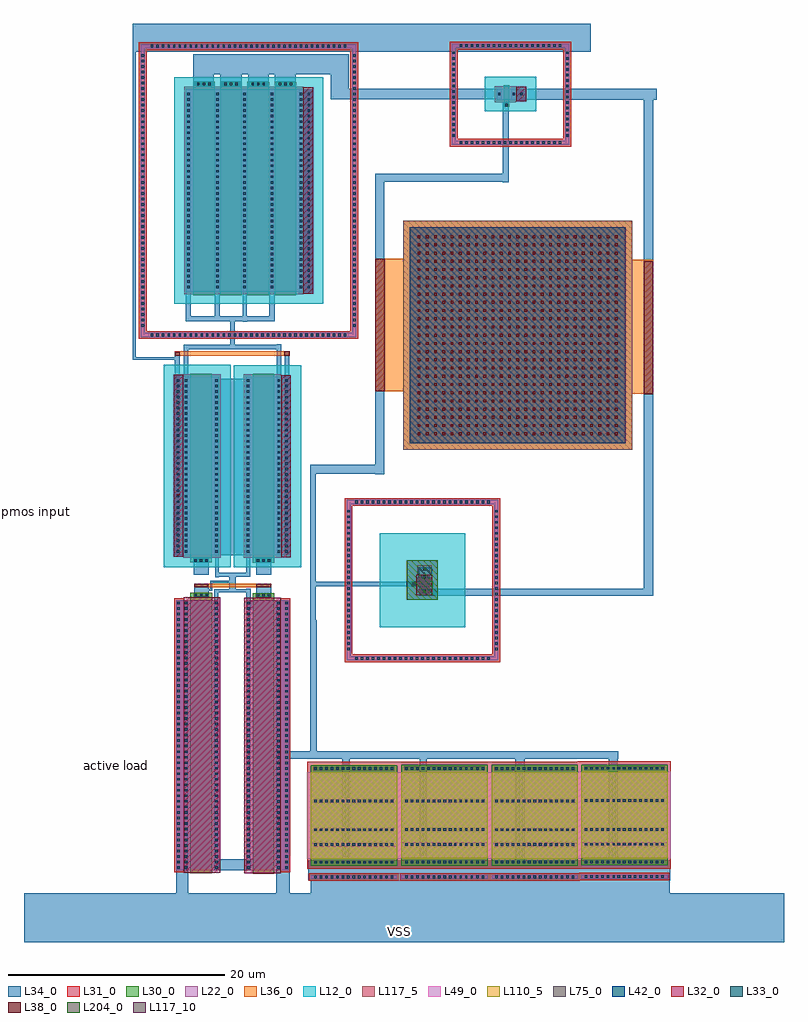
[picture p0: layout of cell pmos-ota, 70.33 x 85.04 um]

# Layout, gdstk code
from math import pi, radians
import gdstk
lib = gdstk.Library(unit=1e-6, precision=1e-09)
def R(c, l, rs):  # rectangles x0, y0, x1, y1
    for r in rs: c.add(gdstk.rectangle(r[:2], r[2:], *l))
def A(c, l, x, y, w, h, nx, ny, dx, dy):  # array of equal rectangles
    R(c, l, [(x+i*dx, y+j*dy, x+i*dx+w, y+j*dy+h) for i in range(nx) for j in range(ny)])
def P(c, l, *ps):  # polygons
    for p in ps: c.add(gdstk.Polygon(p, *l))
L12_0 = (12, 0)
L22_0 = (22, 0)
L30_0 = (30, 0)
L31_0 = (31, 0)
L32_0 = (32, 0)
L33_0 = (33, 0)
L34_0 = (34, 0)
L36_0 = (36, 0)
L38_0 = (38, 0)
L42_0 = (42, 0)
L49_0 = (49, 0)
L75_0 = (75, 0)
L110_5 = (110, 5)
L117_5 = (117, 5)
L117_10 = (117, 10)
L204_0 = (204, 0)

pfet_5 = lib.new_cell('pfet$5')
R(pfet_5, L12_0, [(-1.56,-1.1,4.67,17.6)])
R(pfet_5, L22_0, [(-0.46,0,0,16.5), (0,0,2.38,16.5), (2.38,0,2.84,16.5), (2.84,0,3.57,16.5)])
R(pfet_5, L30_0, [(0.19,-0.68,2.19,-0.3), (0.19,-0.3,2.19,16.8)])
R(pfet_5, L31_0, [(-0.63,-0.24,2.84,16.74)])
R(pfet_5, L32_0, [(2.84,-0.17,3.74,16.67)])
A(pfet_5, L33_0, 0.57, -0.6, 0.22, 0.22, 3, 1, 0.51, 0)
A(pfet_5, L33_0, -0.34, 0.235, 0.22, 0.22, 1, 32, 0, 0.51)
A(pfet_5, L33_0, 2.5, 0.235, 0.22, 0.22, 1, 32, 0, 0.51)
A(pfet_5, L33_0, 3.23, 0.235, 0.22, 0.22, 1, 32, 0, 0.51)
R(pfet_5, L34_0, [(0.49,-0.68,1.89,-0.3), (-0.42,0.155,-0.04,16.345), (2.42,0.155,2.8,16.345), (3.15,0.155,3.53,16.345)])

ppolyf_u_resistor = lib.new_cell('ppolyf_u_resistor')
R(ppolyf_u_resistor, L22_0, [(-1.88,0,-1.52,5), (1.12,0,1.48,5), (-1.88,3,-1.52,8), (1.12,3,1.48,8)])
R(ppolyf_u_resistor, L30_0, [(-0.66,0,5.66,5), (2.34,0,8.66,5), (-0.66,3,5.66,8), (2.34,3,8.66,8)])
R(ppolyf_u_resistor, L31_0, [(-0.96,-0.3,5.96,5.3), (2.04,-0.3,8.96,5.3), (-2.04,-0.16,-1.36,5.16), (0.96,-0.16,1.64,5.16), (-0.96,2.7,5.96,8.3), (2.04,2.7,8.96,8.3), (-2.04,2.84,-1.36,8.16), (0.96,2.84,1.64,8.16)])
A(ppolyf_u_resistor, L33_0, -1.81, 0.35, 0.22, 0.22, 1, 6, 0, 0.51)
A(ppolyf_u_resistor, L33_0, -0.44, 0.35, 0.22, 0.22, 1, 6, 0, 0.51)
A(ppolyf_u_resistor, L33_0, 1.19, 0.35, 0.22, 0.22, 1, 6, 0, 0.51)
A(ppolyf_u_resistor, L33_0, 2.56, 0.35, 0.22, 0.22, 1, 6, 0, 0.51)
A(ppolyf_u_resistor, L33_0, 5.22, 0.35, 0.22, 0.22, 1, 6, 0, 0.51)
A(ppolyf_u_resistor, L33_0, 8.22, 0.35, 0.22, 0.22, 1, 6, 0, 0.51)
A(ppolyf_u_resistor, L33_0, -1.81, 4.88, 0.22, 0.22, 1, 6, 0, 0.51)
A(ppolyf_u_resistor, L33_0, -0.44, 4.88, 0.22, 0.22, 1, 6, 0, 0.51)
A(ppolyf_u_resistor, L33_0, 1.19, 4.88, 0.22, 0.22, 1, 6, 0, 0.51)
A(ppolyf_u_resistor, L33_0, 2.56, 4.88, 0.22, 0.22, 1, 6, 0, 0.51)
A(ppolyf_u_resistor, L33_0, 5.22, 4.88, 0.22, 0.22, 1, 6, 0, 0.51)
A(ppolyf_u_resistor, L33_0, 8.22, 4.88, 0.22, 0.22, 1, 6, 0, 0.51)
R(ppolyf_u_resistor, L33_0, [(-1.81,3.35,-1.59,3.57), (-0.44,3.35,-0.22,3.57), (1.19,3.35,1.41,3.57), (2.56,3.35,2.78,3.57), (5.22,3.35,5.44,3.57), (8.22,3.35,8.44,3.57), (-1.81,3.41,-1.59,3.63), (-0.44,3.41,-0.22,3.63), (1.19,3.41,1.41,3.63), (2.56,3.41,2.78,3.63), (5.22,3.41,5.44,3.63), (8.22,3.41,8.44,3.63), (-1.81,3.86,-1.59,4.08), (-0.44,3.86,-0.22,4.08), (1.19,3.86,1.41,4.08), (2.56,3.86,2.78,4.08), (5.22,3.86,5.44,4.08), (8.22,3.86,8.44,4.08), (-1.81,3.92,-1.59,4.14), (-0.44,3.92,-0.22,4.14), (1.19,3.92,1.41,4.14), (2.56,3.92,2.78,4.14), (5.22,3.92,5.44,4.14), (8.22,3.92,8.44,4.14), (-1.81,4.37,-1.59,4.59), (-0.44,4.37,-0.22,4.59), (1.19,4.37,1.41,4.59), (2.56,4.37,2.78,4.59), (5.22,4.37,5.44,4.59), (8.22,4.37,8.44,4.59), (-1.81,4.43,-1.59,4.65), (-0.44,4.43,-0.22,4.65), (1.19,4.43,1.41,4.65), (2.56,4.43,2.78,4.65), (5.22,4.43,5.44,4.65), (8.22,4.43,8.44,4.65)])
R(ppolyf_u_resistor, L34_0, [(-1.89,0.27,-1.51,4.73), (-0.52,0.27,-0.14,4.73), (1.11,0.27,1.49,4.73), (2.48,0.27,2.86,4.73), (5.14,0.27,5.52,4.73), (8.14,0.27,8.52,4.73), (-1.89,3.27,-1.51,7.73), (-0.52,3.27,-0.14,7.73), (1.11,3.27,1.49,7.73), (2.48,3.27,2.86,7.73), (5.14,3.27,5.52,7.73), (8.14,3.27,8.52,7.73)])
R(ppolyf_u_resistor, L49_0, [(0,-0.28,5,5.28), (3,-0.28,8,5.28), (0,2.72,5,8.28), (3,2.72,8,8.28)])
R(ppolyf_u_resistor, L110_5, [(0,0,5,5), (3,0,8,5), (0,3,5,8), (3,3,8,8)])
ppolyf_u_resistor.add(gdstk.Label('poo poo', (-1.7,2.5), layer=34, texttype=10))
ppolyf_u_resistor.add(gdstk.Label('poo poo', (1.3,2.5), layer=34, texttype=10))
ppolyf_u_resistor.add(gdstk.Label('poo poo', (-1.7,5.5), layer=34, texttype=10))
ppolyf_u_resistor.add(gdstk.Label('poo poo', (1.3,5.5), layer=34, texttype=10))

ppolyf_u_resistor_2 = lib.new_cell('ppolyf_u_resistor$2')
R(ppolyf_u_resistor_2, L22_0, [(-1.88,0,-1.52,5), (1.12,0,1.48,5), (-1.88,3,-1.52,8), (1.12,3,1.48,8)])
R(ppolyf_u_resistor_2, L30_0, [(-0.66,0,5.66,5), (2.34,0,8.66,5), (-0.66,3,5.66,8), (2.34,3,8.66,8)])
R(ppolyf_u_resistor_2, L31_0, [(-0.96,-0.3,5.96,5.3), (2.04,-0.3,8.96,5.3), (-2.04,-0.16,-1.36,5.16), (0.96,-0.16,1.64,5.16), (-0.96,2.7,5.96,8.3), (2.04,2.7,8.96,8.3), (-2.04,2.84,-1.36,8.16), (0.96,2.84,1.64,8.16)])
A(ppolyf_u_resistor_2, L33_0, -1.81, 0.35, 0.22, 0.22, 1, 6, 0, 0.51)
A(ppolyf_u_resistor_2, L33_0, -0.44, 0.35, 0.22, 0.22, 1, 6, 0, 0.51)
A(ppolyf_u_resistor_2, L33_0, 1.19, 0.35, 0.22, 0.22, 1, 6, 0, 0.51)
A(ppolyf_u_resistor_2, L33_0, 2.56, 0.35, 0.22, 0.22, 1, 6, 0, 0.51)
A(ppolyf_u_resistor_2, L33_0, 5.22, 0.35, 0.22, 0.22, 1, 6, 0, 0.51)
A(ppolyf_u_resistor_2, L33_0, 8.22, 0.35, 0.22, 0.22, 1, 6, 0, 0.51)
A(ppolyf_u_resistor_2, L33_0, -1.81, 4.88, 0.22, 0.22, 1, 6, 0, 0.51)
A(ppolyf_u_resistor_2, L33_0, -0.44, 4.88, 0.22, 0.22, 1, 6, 0, 0.51)
A(ppolyf_u_resistor_2, L33_0, 1.19, 4.88, 0.22, 0.22, 1, 6, 0, 0.51)
A(ppolyf_u_resistor_2, L33_0, 2.56, 4.88, 0.22, 0.22, 1, 6, 0, 0.51)
A(ppolyf_u_resistor_2, L33_0, 5.22, 4.88, 0.22, 0.22, 1, 6, 0, 0.51)
A(ppolyf_u_resistor_2, L33_0, 8.22, 4.88, 0.22, 0.22, 1, 6, 0, 0.51)
R(ppolyf_u_resistor_2, L33_0, [(-1.81,3.35,-1.59,3.57), (-0.44,3.35,-0.22,3.57), (1.19,3.35,1.41,3.57), (2.56,3.35,2.78,3.57), (5.22,3.35,5.44,3.57), (8.22,3.35,8.44,3.57), (-1.81,3.41,-1.59,3.63), (-0.44,3.41,-0.22,3.63), (1.19,3.41,1.41,3.63), (2.56,3.41,2.78,3.63), (5.22,3.41,5.44,3.63), (8.22,3.41,8.44,3.63), (-1.81,3.86,-1.59,4.08), (-0.44,3.86,-0.22,4.08), (1.19,3.86,1.41,4.08), (2.56,3.86,2.78,4.08), (5.22,3.86,5.44,4.08), (8.22,3.86,8.44,4.08), (-1.81,3.92,-1.59,4.14), (-0.44,3.92,-0.22,4.14), (1.19,3.92,1.41,4.14), (2.56,3.92,2.78,4.14), (5.22,3.92,5.44,4.14), (8.22,3.92,8.44,4.14), (-1.81,4.37,-1.59,4.59), (-0.44,4.37,-0.22,4.59), (1.19,4.37,1.41,4.59), (2.56,4.37,2.78,4.59), (5.22,4.37,5.44,4.59), (8.22,4.37,8.44,4.59), (-1.81,4.43,-1.59,4.65), (-0.44,4.43,-0.22,4.65), (1.19,4.43,1.41,4.65), (2.56,4.43,2.78,4.65), (5.22,4.43,5.44,4.65), (8.22,4.43,8.44,4.65)])
R(ppolyf_u_resistor_2, L34_0, [(-1.89,0.27,-1.51,4.73), (-0.52,0.27,-0.14,4.73), (1.11,0.27,1.49,4.73), (2.48,0.27,2.86,4.73), (5.14,0.27,5.52,4.73), (8.14,0.27,8.52,4.73), (-1.89,3.27,-1.51,7.73), (-0.52,3.27,-0.14,7.73), (1.11,3.27,1.49,7.73), (2.48,3.27,2.86,7.73), (5.14,3.27,5.52,7.73), (8.14,3.27,8.52,7.73)])
R(ppolyf_u_resistor_2, L49_0, [(0,-0.28,5,5.28), (3,-0.28,8,5.28), (0,2.72,5,8.28), (3,2.72,8,8.28)])
R(ppolyf_u_resistor_2, L110_5, [(0,0,5,5), (3,0,8,5), (0,3,5,8), (3,3,8,8)])

pfet = lib.new_cell('pfet')
R(pfet, L12_0, [(-1.56,-1.1,3.17,2.1)])
R(pfet, L22_0, [(-0.46,0,0,1), (0,0,0.88,1), (0.88,0,1.34,1), (1.34,0,2.07,1)])
P(pfet, L22_0, [(-4.64,-4.18),(-4.64,4.8),(-4.26,4.8),(-4.26,-3.8),(5.87,-3.8),(5.87,4.8),(-4.64,4.8),(-4.64,5.18),(6.25,5.18),(6.25,-4.18)])
R(pfet, L30_0, [(0.19,-0.68,0.69,-0.3), (0.19,-0.3,0.69,1.3)])
R(pfet, L31_0, [(-0.63,-0.24,1.34,1.24)])
P(pfet, L31_0, [(-4.81,-4.35),(-4.81,4.63),(-4.09,4.63),(-4.09,-3.63),(5.7,-3.63),(5.7,4.63),(-4.81,4.63),(-4.81,5.35),(6.42,5.35),(6.42,-4.35)])
R(pfet, L32_0, [(1.34,-0.17,2.24,1.17)])
A(pfet, L33_0, -3.895, -4.1, 0.22, 0.22, 19, 2, 0.51, 8.98)
A(pfet, L33_0, -4.56, -3.435, 0.22, 0.22, 1, 16, 0, 0.51)
A(pfet, L33_0, 5.95, -3.435, 0.22, 0.22, 1, 16, 0, 0.51)
R(pfet, L33_0, [(0.33,-0.6,0.55,-0.38), (-0.34,0.39,-0.12,0.61), (1,0.39,1.22,0.61), (1.73,0.39,1.95,0.61)])
R(pfet, L34_0, [(0.25,-0.681,0.63,-0.299), (-0.42,0.309,-0.04,0.691), (0.92,0.309,1.3,0.691), (1.65,0.309,2.03,0.691)])

nfet = lib.new_cell('nfet')
R(nfet, L12_0, [(-3.55,-3.26,5.14,4.632)])
R(nfet, L22_0, [(-0.42,0,0,1), (0,0,0.88,1), (0.88,0,1.3,1), (1.3,0,2.01,1)])
P(nfet, L22_0, [(-6.63,-6.34),(-6.63,7.332),(-6.25,7.332),(-6.25,-5.96),(7.84,-5.96),(7.84,7.332),(-6.63,7.332),(-6.63,7.712),(8.22,7.712),(8.22,-6.34)])
R(nfet, L30_0, [(0.19,-0.3,0.69,1.3), (0.19,1.3,0.69,1.66)])
R(nfet, L31_0, [(1.3,-0.17,2.18,1.17)])
P(nfet, L31_0, [(-6.8,-6.51),(-6.8,7.162),(-6.08,7.162),(-6.08,-5.79),(7.67,-5.79),(7.67,7.162),(-6.8,7.162),(-6.8,7.882),(8.39,7.882),(8.39,-6.51)])
R(nfet, L32_0, [(-0.59,-0.24,1.3,1.24)])
A(nfet, L33_0, -5.69, -6.26, 0.22, 0.22, 26, 2, 0.51, 13.672)
A(nfet, L33_0, -6.55, -5.544, 0.22, 0.22, 1, 25, 0, 0.51)
A(nfet, L33_0, 7.92, -5.544, 0.22, 0.22, 1, 25, 0, 0.51)
R(nfet, L33_0, [(-0.32,0.39,-0.1,0.61), (0.98,0.39,1.2,0.61), (1.69,0.39,1.91,0.61), (0.33,1.37,0.55,1.59)])
R(nfet, L34_0, [(-0.4,0.309,-0.02,0.691), (0.9,0.309,1.28,0.691), (1.61,0.309,1.99,0.691), (0.25,1.289,0.63,1.671)])
R(nfet, L204_0, [(-1.04,-0.75,2.63,2.122)])

cap_mim_1 = lib.new_cell('cap_mim$1')
R(cap_mim_1, L36_0, [(-0.6,-0.6,20.6,20.6)])
A(cap_mim_1, L38_0, 0.75, 0.75, 0.26, 0.26, 25, 25, 0.76, 0.76)
R(cap_mim_1, L42_0, [(0,0,20,20)])
R(cap_mim_1, L75_0, [(0,0,20,20)])
R(cap_mim_1, L117_5, [(-0.6,-0.6,20.6,20.6)])
R(cap_mim_1, L117_10, [(0,0,20,0.1)])

pfet_7 = lib.new_cell('pfet$7')
R(pfet_7, L12_0, [(-1.56,-1.1,12.23,19.85)])
R(pfet_7, L22_0, [(-0.46,0,0,18.75), (0,0,9.94,18.75), (9.94,0,10.4,18.75), (10.4,0,11.13,18.75)])
P(pfet_7, L22_0, [(-4.64,-4.18),(-4.64,22.55),(-4.26,22.55),(-4.26,-3.8),(14.93,-3.8),(14.93,22.55),(-4.64,22.55),(-4.64,22.93),(15.31,22.93),(15.31,-4.18)])
A(pfet_7, L30_0, 0.19, -0.68, 2, 0.38, 4, 1, 2.52, 0)
A(pfet_7, L30_0, 0.19, -0.3, 2, 19.35, 4, 1, 2.52, 0)
R(pfet_7, L31_0, [(-0.63,-0.24,10.4,18.99)])
P(pfet_7, L31_0, [(-4.81,-4.35),(-4.81,22.38),(-4.09,22.38),(-4.09,-3.63),(14.76,-3.63),(14.76,22.38),(-4.81,22.38),(-4.81,23.1),(15.48,23.1),(15.48,-4.35)])
R(pfet_7, L32_0, [(10.4,-0.17,11.3,18.92)])
A(pfet_7, L33_0, -3.7, -4.1, 0.22, 0.22, 36, 2, 0.51, 26.73)
A(pfet_7, L33_0, -4.56, -3.23, 0.22, 0.22, 1, 50, 0, 0.51)
A(pfet_7, L33_0, 15.01, -3.23, 0.22, 0.22, 1, 50, 0, 0.51)
A(pfet_7, L33_0, 0.57, -0.6, 0.22, 0.22, 3, 1, 0.51, 0)
A(pfet_7, L33_0, 3.09, -0.6, 0.22, 0.22, 3, 1, 0.51, 0)
A(pfet_7, L33_0, 5.61, -0.6, 0.22, 0.22, 3, 1, 0.51, 0)
A(pfet_7, L33_0, 8.13, -0.6, 0.22, 0.22, 3, 1, 0.51, 0)
A(pfet_7, L33_0, -0.34, 0.34, 0.22, 0.22, 1, 36, 0, 0.51)
A(pfet_7, L33_0, 2.34, 0.34, 0.22, 0.22, 3, 36, 2.52, 0.51)
A(pfet_7, L33_0, 10.06, 0.34, 0.22, 0.22, 1, 36, 0, 0.51)
A(pfet_7, L33_0, 10.79, 0.34, 0.22, 0.22, 1, 36, 0, 0.51)
A(pfet_7, L34_0, 0.49, -0.68, 1.4, 0.38, 4, 1, 2.52, 0)
A(pfet_7, L34_0, 2.26, 0.26, 0.38, 18.23, 3, 1, 2.52, 0)
R(pfet_7, L34_0, [(-0.42,0.26,-0.04,18.49), (9.98,0.26,10.36,18.49), (10.71,0.26,11.09,18.49)])

pfet_1 = lib.new_cell('pfet$1')
R(pfet_1, L12_0, [(-1.56,-1.1,4.67,17.6)])
R(pfet_1, L22_0, [(-0.46,0,0,16.5), (0,0,2.38,16.5), (2.38,0,2.84,16.5), (2.84,0,3.57,16.5)])
R(pfet_1, L30_0, [(0.19,-0.3,2.19,16.8), (0.19,16.8,2.19,17.18)])
R(pfet_1, L31_0, [(-0.63,-0.24,2.84,16.74)])
R(pfet_1, L32_0, [(2.84,-0.17,3.74,16.67)])
A(pfet_1, L33_0, -0.34, 0.235, 0.22, 0.22, 1, 32, 0, 0.51)
A(pfet_1, L33_0, 2.5, 0.235, 0.22, 0.22, 1, 32, 0, 0.51)
A(pfet_1, L33_0, 3.23, 0.235, 0.22, 0.22, 1, 32, 0, 0.51)
A(pfet_1, L33_0, 0.57, 16.88, 0.22, 0.22, 3, 1, 0.51, 0)
R(pfet_1, L34_0, [(-0.42,0.155,-0.04,16.345), (2.42,0.155,2.8,16.345), (3.15,0.155,3.53,16.345), (0.49,16.8,1.89,17.18)])

nfet_1 = lib.new_cell('nfet$1')
R(nfet_1, L22_0, [(-0.42,0,0,25), (0,0,2.38,25), (2.38,0,2.8,25), (2.8,0,3.51,25)])
R(nfet_1, L30_0, [(0.19,-0.66,2.19,-0.3), (0.19,-0.3,2.19,25.3)])
R(nfet_1, L31_0, [(2.8,-0.17,3.68,25.17)])
R(nfet_1, L32_0, [(-0.59,-0.24,2.8,25.24)])
A(nfet_1, L33_0, 0.57, -0.59, 0.22, 0.22, 3, 1, 0.51, 0)
A(nfet_1, L33_0, -0.32, 0.15, 0.22, 0.22, 1, 49, 0, 0.51)
A(nfet_1, L33_0, 2.48, 0.15, 0.22, 0.22, 1, 49, 0, 0.51)
A(nfet_1, L33_0, 3.19, 0.15, 0.22, 0.22, 1, 49, 0, 0.51)
R(nfet_1, L34_0, [(0.49,-0.67,1.89,-0.29), (-0.4,0.07,-0.02,24.93), (2.4,0.07,2.78,24.93), (3.11,0.07,3.49,24.93)])

nfet_6 = lib.new_cell('nfet$6')
R(nfet_6, L22_0, [(-0.42,0,0,25), (0,0,2.38,25), (2.38,0,2.8,25), (2.8,0,3.51,25)])
R(nfet_6, L30_0, [(0.19,-0.3,2.19,25.3), (0.19,25.3,2.19,25.66)])
R(nfet_6, L31_0, [(2.8,-0.17,3.68,25.17)])
R(nfet_6, L32_0, [(-0.59,-0.24,2.8,25.24)])
A(nfet_6, L33_0, -0.32, 0.15, 0.22, 0.22, 1, 49, 0, 0.51)
A(nfet_6, L33_0, 2.48, 0.15, 0.22, 0.22, 1, 49, 0, 0.51)
A(nfet_6, L33_0, 3.19, 0.15, 0.22, 0.22, 1, 49, 0, 0.51)
A(nfet_6, L33_0, 0.57, 25.37, 0.22, 0.22, 3, 1, 0.51, 0)
R(nfet_6, L34_0, [(-0.4,0.07,-0.02,24.93), (2.4,0.07,2.78,24.93), (3.11,0.07,3.49,24.93), (0.49,25.29,1.89,25.67)])

pmos_ota = lib.new_cell('pmos-ota')
R(pmos_ota, L34_0, [(-24.975,-22.35,45.355,-17.775), (-10.895,-18.92,-9.775,-14.03), (-1.62,-18.83,-0.405,-14.305), (1.575,-18.375,34.785,-16.11), (1.325,-16.59,34.825,-14.735), (-10.895,-15.665,-9.78,9.335), (-7.385,-15.655,-4,-14.665), (-1.62,-15.645,-0.49,9.315), (20.485,-15.1,21.385,-4.66), (29.115,-14.555,29.97,-4.66), (4.465,-14.41,5.16,-4.665), (11.64,-14.34,12.275,-4.66), (-1.52,-5.34,5.135,-4.635), (4.465,-5.34,30.035,-4.66), (1.535,-5.2,2.095,7.45), (1.535,7.015,2.01,21.85), (-4.41,8.49,-4,10.385), (-7.365,8.875,-7,10.36), (-3.49,9.615,-2.08,10.86), (-9.22,9.635,-7.87,10.86), (11.61,9.735,33.17,10.385), (32.385,9.735,33.235,56.655), (-7.365,10.05,-4,10.35), (-5.965,10.05,-5.38,11.85), (-8.05,10.185,-7.545,10.36), (-7.735,10.185,-7.545,11.145), (1.535,10.595,11.345,11.05), (-7.735,10.92,-5.38,11.12), (11.51,11.345,12.81,12.315), (-7.27,11.435,-6.96,13.92), (-7.27,11.48,-4.02,11.85), (-4.43,11.48,-4.02,13.95), (-3.475,11.665,-2.11,13.185), (-9.255,11.675,-7.88,13.195), (-7.35,13.485,-4.015,29.825), (7.53,20.975,8.365,37.395), (1.535,21.02,8.365,21.85), (-10.19,27.93,-9.76,32.97), (-0.86,28.505,-0.41,32.345), (-1.59,28.535,-1.185,32.495), (-11.015,28.68,-10.54,32.32), (-14.895,31.585,-10.54,31.815), (-14.895,31.59,-14.635,60.425), (-1.59,32.03,-1.18,33.015), (-10.19,32.56,-1.18,32.97), (-5.88,32.56,-5.465,35.58), (-4.745,35.105,-4.36,38.975), (-9.985,35.12,-9.525,39.015), (-9.985,35.12,-1.79,35.58), (-7.335,35.12,-6.85,39.085), (-2.295,35.12,-1.785,38.88), (7.53,36.895,8.36,48.78), (0.47,37.685,1.685,56.605), (19.315,48.01,19.905,55.415), (7.57,48.055,19.905,48.78), (20.11,55.615,33.585,56.655), (20.12,55.655,21.3,56.655), (3.4,55.675,19.23,56.655), (3.415,55.675,5.055,59.855), (-1.775,56.865,0.18,59.855), (-4.245,56.905,-2.32,59.855), (-6.815,56.93,-4.825,59.855), (-9.335,56.955,-7.405,59.86), (-9.335,58,5.06,59.855), (-14.895,60.07,27.48,62.69)])
P(pmos_ota, L34_0, [(24.375,35.495),(24.375,35.495),(24.375,35.495),(24.375,35.495)])
R(pmos_ota, L36_0, [(-9.22,10.5,-2.08,10.825), (28.435,28.43,33.235,40.815), (7.53,28.655,16.13,40.93), (-11.015,31.955,-0.39,32.345)])
R(pmos_ota, L38_0, [(-9.22,10.5,-7.92,10.825), (-3.495,10.5,-2.08,10.825), (-10.84,19.05,-10.54,19.12), (32.385,28.38,33.235,40.68), (7.53,28.655,8.42,40.915), (-11.015,31.925,-10.54,32.305), (-0.89,31.955,-0.39,32.345)])
pmos_ota.add(gdstk.Reference(pfet_5, (-4.01,13.485)))
r = gdstk.Reference(ppolyf_u_resistor, (9.945,-14.575), rotation=pi/2, x_reflection=True); r.repetition = gdstk.Repetition(1, 1, v1=(0,0), v2=(0,0)); pmos_ota.add(r)
r = gdstk.Reference(ppolyf_u_resistor_2, (1.545,-14.59), rotation=pi/2, x_reflection=True); r.repetition = gdstk.Repetition(1, 1, v1=(0,0), v2=(0,0)); pmos_ota.add(r)
r = gdstk.Reference(ppolyf_u_resistor_2, (26.585,-14.555), rotation=pi/2, x_reflection=True); r.repetition = gdstk.Repetition(1, 1, v1=(0,0), v2=(0,0)); pmos_ota.add(r)
pmos_ota.add(gdstk.Reference(pfet, (19.24,55.655)))
pmos_ota.add(gdstk.Reference(nfet, (12.585,10.385), rotation=pi/2))
r = gdstk.Reference(ppolyf_u_resistor_2, (18.29,-14.585), rotation=pi/2, x_reflection=True); r.repetition = gdstk.Repetition(1, 1, v1=(0,0), v2=(0,0)); pmos_ota.add(r)
r = gdstk.Reference(cap_mim_1, (30.705,43.845), rotation=3*pi/2, x_reflection=True); r.repetition = gdstk.Repetition(1, 1, v1=(0,0), v2=(0,0)); pmos_ota.add(r)
r = gdstk.Reference(pfet_7, (-9.525,56.605), x_reflection=True); r.repetition = gdstk.Repetition(1, 1, v1=(0,0), v2=(0,0)); pmos_ota.add(r)
pmos_ota.add(gdstk.Reference(pfet_1, (-7.39,29.995), rotation=pi))
pmos_ota.add(gdstk.Reference(nfet_1, (-7.385,9.335), rotation=pi))
pmos_ota.add(gdstk.Reference(nfet_6, (-4,-15.685)))
pmos_ota.add(gdstk.Label('VSS', (9.75,-21.36), layer=100, texttype=7))
pmos_ota.add(gdstk.Label('VDD', (4.725,66.36), layer=100, texttype=7))
pmos_ota.add(gdstk.Label('pmos Isource', (-40.64,41.97), layer=100, texttype=7))
pmos_ota.add(gdstk.Label('active load', (-16.45,-6.005), layer=100, texttype=7))
pmos_ota.add(gdstk.Label('pmos input', (-23.92,17.515), layer=100, texttype=7))

lib.write_gds('pmos-ota.gds')
